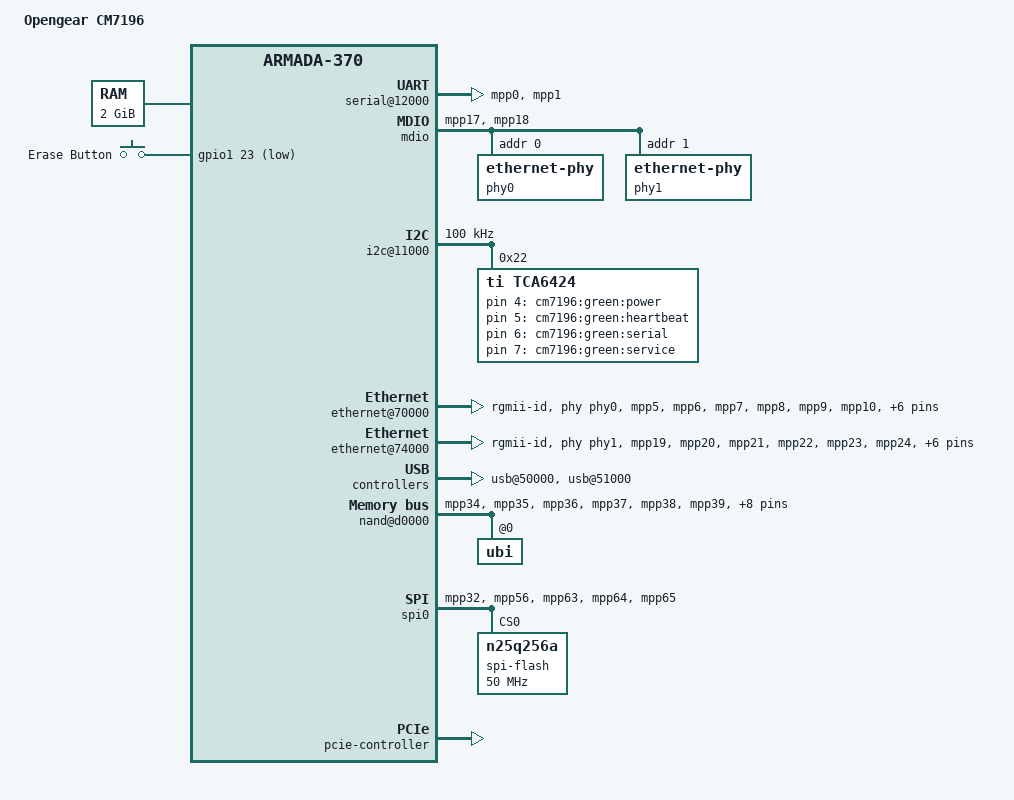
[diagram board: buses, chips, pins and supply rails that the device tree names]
/*
 * Device Tree file for Opengear ACM7000
 *
 * Ken Wilson <ken.wilson@opengear.com>
 *
 * This file is licensed under the terms of the GNU General Public
 * License version 2.  This program is licensed "as is" without any
 * warranty of any kind, whether express or implied.
 */

/dts-v1/;
/include/ "armada-370.dtsi"

/ {
	model = "Opengear CM7196";
	compatible = "opengear,cm7000", "marvell,armada370", "marvell,armada-370-xp";

	chosen {
		bootargs = "console=ttyS0,115200 earlyprintk debug root=/dev/ram0";
	};

	memory {
		device_type = "memory";
		reg = <0x00000000 0x80000000>; /* 2 GB */
	};

	soc {
		internal-regs {
			serial@12000 {
				clock-frequency = <200000000>;
				status = "okay";

				pinctrl-0 = <&uart0_pins>;
				pinctrl-names = "default";
			};
			timer@20300 {
				clock-frequency = <600000000>;
				status = "okay";
			};

			watchdog@20300 {
				compatible = "marvell,armada-370-wdt";
				reg = <0x20300 0x34>, <0x20704 0x4>;
				clocks = <&coreclk 2>;
				status = "okay";
			};

			pinctrl {
				/* UART Pins */
				uart0_pins: uart0-pins {
					marvell,pins = "mpp0", "mpp1";
					marvell,function = "uart0";
				};
				
				/* Ge0 Pins */
				ge0_pins: ge0-pins {
					marvell,pins = "mpp5", "mpp6", "mpp7", "mpp8",
							"mpp9", "mpp10", "mpp11", "mpp12",
							"mpp13", "mpp14", "mpp15", "mpp16";
					marvell,function = "ge0";
				};
				/* MDIO Pins */
				mdio_pins: mdio-pins { 
					marvell,pins = "mpp17", "mpp18";
					marvell,function = "ge";
				};
				/* Ge1 Pins */
				ge1_pins: ge1-pins {
					marvell,pins = "mpp19", "mpp20", "mpp21", "mpp22",
							"mpp23", "mpp24", "mpp25", "mpp26",
							"mpp27", "mpp28", "mpp29", "mpp30";
					marvell,function = "ge1";
				};
			
				/* SPI */
				spi_pins: spi-pins {
					marvell,pins = "mpp32", "mpp56", "mpp63", "mpp64", "mpp65";
					marvell,function = "spi0";
				};

				/* NAND */
				nand_pins: nand-pins {
					marvell,pins = "mpp34", "mpp35", "mpp36", "mpp37", "mpp38",
							"mpp39", "mpp40", "mpp41", "mpp42", "mpp43", 
							"mpp44", "mpp45", "mpp46", "mpp33";
					marvell,function = "dev";
				};

				erase_button_pin: erase-button-pin {	
					marvell,pins = "mpp55";
					marvell,function = "gpo";
				};
			
				dio_pins: dio-pins {
					marvell,pins = "mpp48", "mpp49", "mpp50", "mpp51";
					marvell,function = "gpio";
				};

				reset_3v3_pin: reset-3v3-pin {	
					marvell,pins = "mpp52";
					marvell,function = "gpio";
				};
				
				wdt_en_pin: wdt-en-pin {	
					marvell,pins = "mpp60";
					marvell,function = "gpio";
				};
				
				wdt_tickle_pin: wdt-tickle-pin {	
					marvell,pins = "mpp61";
					marvell,function = "gpio";
				};
				
			};

			gpio_keys {
				compatible = "gpio-keys";
				#address-cells = <1>;
				#size-cells = <0>;
				button@0 {
					label = "Erase Button";
					linux,code = <84>; /* Delete */
					gpios = <&gpio1 23 1>;
				};
			};

			mdio {
				pinctrl-0 = <&mdio_pins>;
				pinctrl-names = "default";
				
				phy0: ethernet-phy@0 {
					reg = <0>;
					marvell,reg-init = <18 20 0xffff 0x0226>;
				};

				phy1: ethernet-phy@1 {
					reg = <1>;
					marvell,reg-init = <18 20 0xffff 0x0226>;
				};
			
			};

			i2c@11000 {
				status = "okay";
				clock-frequency = <100000>;
			
				tca6424: gpio@22 {
					compatible = "ti,tca6424";
					reg = <0x22>;
					gpio-controller;
					#gpio-cells = <2>;
				};
			};

			gpio_leds {
				compatible = "gpio-leds";

				green_power_led {
					label = "cm7196:green:power";
					gpios = <&tca6424 4 0>;
					default-state = "on";
				};

				green_hb_led {
					label = "cm7196:green:heartbeat";
					gpios = <&tca6424 5 0>;
					linux,default-trigger = "heartbeat";
				};

				green_serial_led {
					label = "cm7196:green:serial";
					gpios = <&tca6424 6 0>;
					linux,default-trigger = "serial";
				};
				
				green_service_led {
					label = "cm7196:green:service";
					gpios = <&tca6424 7 0>;
					linux,default-trigger = "none";
				};
			};

			ethernet@70000 {
				status = "okay";
				phy = <&phy0>;
				phy-mode = "rgmii-id";
				pinctrl-0 = <&ge0_pins>;
				pinctrl-names = "default";
				
			};
			ethernet@74000 {
				status = "okay";
				phy = <&phy1>;
				phy-mode = "rgmii-id";
				pinctrl-0 = <&ge1_pins>;
				pinctrl-names = "default";
			};

			usb@50000 {
				status = "okay";
			};

			usb@51000 {
				status = "okay";
			};
			
			nand@d0000 {
				status = "okay";
				pinctrl-0 = <&nand_pins>;
				pinctrl-names = "default";
				interrupts = <113>;

				ubi@0 {
					label = "ubi";
					reg = <0x00000000 0xFFE00000>;
				};
			};
			
			spi0: spi@10600 {
				status = "okay";
				pinctrl-0 = <&spi_pins>;
				pinctrl-names = "default";

				spi-flash@0 {
					#address-cells = <1>;
					#size-cells = <1>;
					compatible = "n25q256a";
					reg = <0>; /* Chip select 0 */
					spi-max-frequency = <50000000>;
					u-boot@0 {
						label = "u-boot";
						reg = <0x00000000 0x00100000>;
					};

					u-boot-config-block@100000 {
						label = "u-boot config block";
						reg = <0x00100000 0x00020000>;
					};

					factory-img@120000 {
						label = "factory_img";
						reg = <0x00120000 0x1400000>;
					};

					system-log@1520000 {
						label = "system_log";
						reg = <0x1520000 0x00200000>;
					};

					mtd-oops@1720000 {
						label = "mtd-oops";
						reg = <0x1720000 0x00080000>;
					};

					reserved@17A0000 {
						label = "reserved";
						reg = <0x17A0000 0x860000>;
					};

					all-spi@0 {
						label = "all-spi";
						reg = <0x0 0x2000000>;
					};

				};
			};

			pcie-controller {
				status = "okay";

				pcie@1,0 {
					/* Port 0, Lane 0 */
					status = "okay";
				};

				pcie@2,0 {
					/* Port 1, Lane 0 */
					status = "okay";
				};
			};
		};
	};
};
